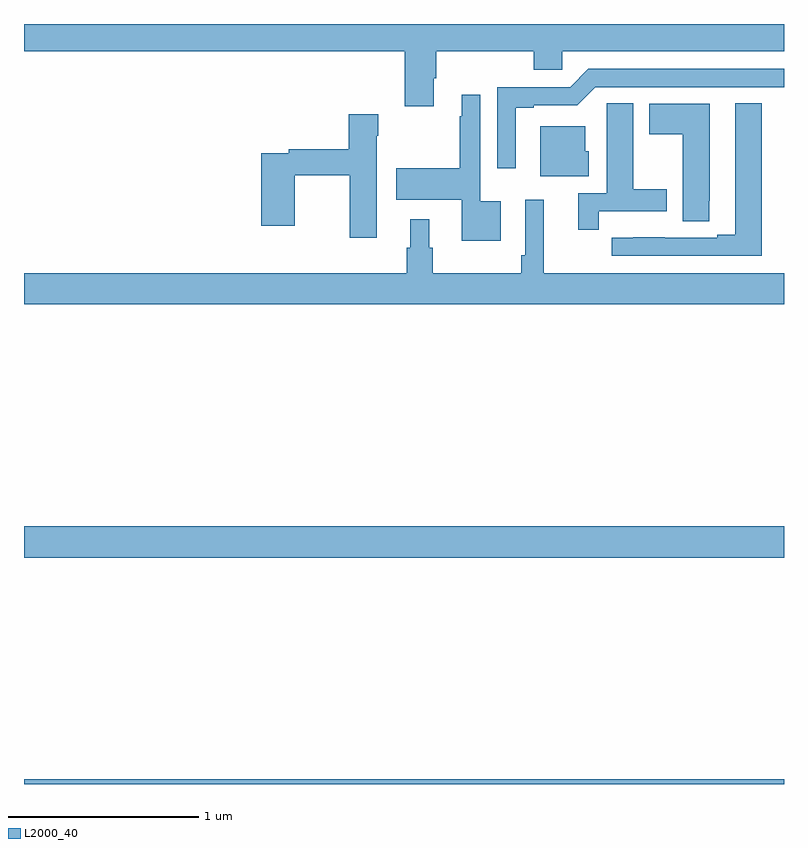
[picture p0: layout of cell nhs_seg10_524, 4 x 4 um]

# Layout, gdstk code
import gdstk
lib = gdstk.Library(unit=1e-6, precision=1e-09)
def R(c, l, rs):  # rectangles x0, y0, x1, y1
    for r in rs: c.add(gdstk.rectangle(r[:2], r[2:], *l))
def P(c, l, *ps):  # polygons
    for p in ps: c.add(gdstk.Polygon(p, *l))
L2000_40 = (2000, 40)

nhs_seg10_524 = lib.new_cell('nhs_seg10_524')
R(nhs_seg10_524, L2000_40, [(137,1256.5,141,1256.524), (137,1257.692,141,1257.856)])
P(nhs_seg10_524, L2000_40, [(139.156,1260.214),(139.169,1260.214),(139.169,1260.356),(139.682,1260.356),(139.682,1260.258),(139.833,1260.258),(139.833,1260.356),(141,1260.356),(141,1260.5),(137,1260.5),(137,1260.356),(139.004,1260.356),(139.004,1260.066),(139.156,1260.066)],
  [(139.588,1260.06),(139.684,1260.06),(139.684,1260.072),(139.911,1260.072),(140.007,1260.168),(141,1260.168),(141,1260.264),(139.971,1260.264),(139.875,1260.168),(139.491,1260.168),(139.491,1259.742),(139.588,1259.742)],
  [(139.51,1259.566),(139.401,1259.566),(139.401,1260.127),(139.304,1260.127),(139.304,1260.014),(139.293,1260.014),(139.293,1259.742),(138.96,1259.742),(138.96,1259.576),(139.304,1259.576),(139.304,1259.36),(139.51,1259.36)],
  [(140.024,1259.514),(140.383,1259.514),(140.383,1259.631),(140.206,1259.631),(140.206,1260.083),(140.067,1260.083),(140.067,1259.972),(140.066,1259.972),(140.066,1259.61),(139.916,1259.61),(139.916,1259.418),(140.024,1259.418)],
  [(140.884,1260.083),(140.744,1260.083),(140.744,1259.391),(140.648,1259.391),(140.648,1259.376),(140.372,1259.376),(140.372,1259.377),(140.206,1259.377),(140.206,1259.376),(140.094,1259.376),(140.094,1259.28),(140.884,1259.28)],
  [(140.607,1259.569),(140.608,1259.569),(140.608,1260.079),(140.291,1260.079),(140.291,1259.92),(140.468,1259.92),(140.468,1259.461),(140.607,1259.461)],
  [(138.856,1259.912),(138.864,1259.912),(138.864,1260.025),(138.71,1260.025),(138.71,1259.84),(138.394,1259.84),(138.394,1259.82),(138.248,1259.82),(138.248,1259.439),(138.426,1259.439),(138.426,1259.704),(138.715,1259.704),(138.715,1259.376),(138.856,1259.376)],
  [(139.972,1259.829),(139.954,1259.829),(139.954,1259.962),(139.718,1259.962),(139.718,1259.699),(139.972,1259.699)],
  [(141,1259.188),(139.736,1259.188),(139.736,1259.575),(139.638,1259.575),(139.638,1259.284),(139.618,1259.284),(139.618,1259.188),(139.151,1259.188),(139.151,1259.322),(139.132,1259.322),(139.132,1259.473),(139.034,1259.473),(139.034,1259.322),(139.015,1259.322),(139.015,1259.188),(137,1259.188),(137,1259.024),(141,1259.024)])

lib.write_gds('nhs_seg10_524.gds')
